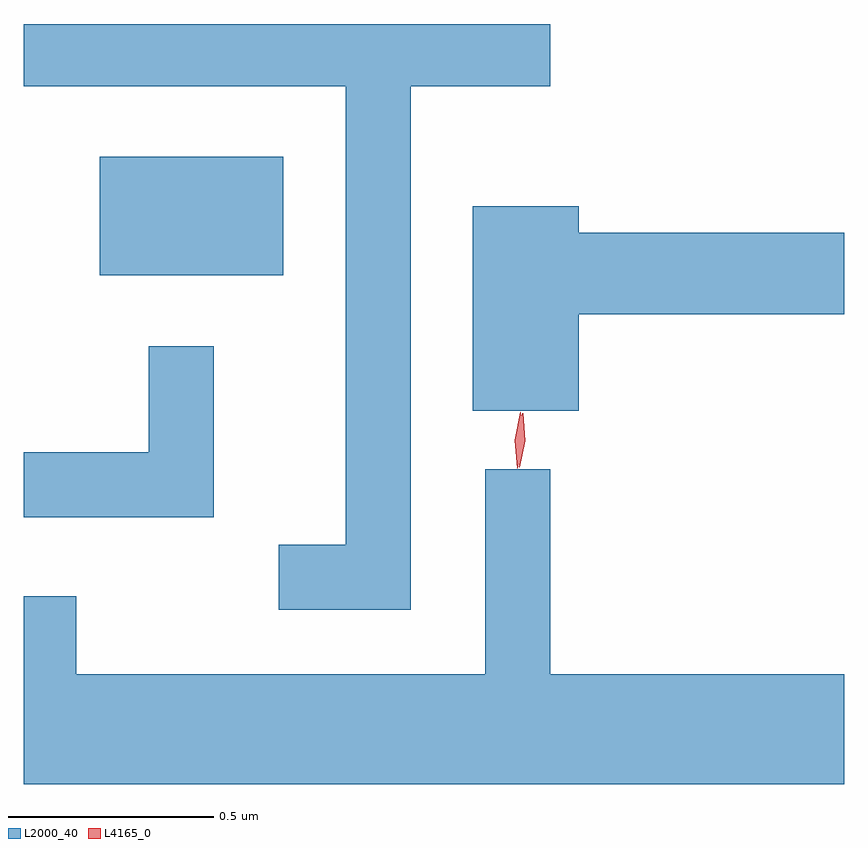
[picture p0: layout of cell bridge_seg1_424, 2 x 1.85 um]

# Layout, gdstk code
import gdstk
lib = gdstk.Library(unit=1e-6, precision=1e-09)
def R(c, l, rs):  # rectangles x0, y0, x1, y1
    for r in rs: c.add(gdstk.rectangle(r[:2], r[2:], *l))
def P(c, l, *ps):  # polygons
    for p in ps: c.add(gdstk.Polygon(p, *l))
L2000_40 = (2000, 40)
L4165_0 = (4165, 0)

bridge_seg1_424 = lib.new_cell('bridge_seg1_424')
R(bridge_seg1_424, L2000_40, [(608.016,969.636,608.464,969.924)])
P(bridge_seg1_424, L2000_40, [(608.774,970.096),(609.114,970.096),(609.114,970.248),(607.831,970.248),(607.831,970.096),(608.616,970.096),(608.616,968.979),(608.453,968.979),(608.453,968.821),(608.774,968.821)],
  [(609.184,969.541),(609.831,969.541),(609.831,969.739),(609.184,969.739),(609.184,969.804),(608.926,969.804),(608.926,969.306),(609.184,969.306)],
  [(608.294,969.463),(608.136,969.463),(608.136,969.204),(607.831,969.204),(607.831,969.046),(608.294,969.046)],
  [(609.831,968.664),(609.114,968.664),(609.114,969.163),(608.956,969.163),(608.956,968.664),(607.959,968.664),(607.959,968.854),(607.831,968.854),(607.831,968.396),(609.831,968.396)])
P(bridge_seg1_424, L4165_0, [(609.035,969.165),(609.034,969.166),(609.028,969.234),(609.041,969.302),(609.042,969.302),(609.042,969.302),(609.048,969.233),(609.035,969.166)],
  [(609.039,969.168),(609.033,969.234),(609.046,969.299),(609.047,969.299),(609.048,969.299),(609.053,969.233),(609.04,969.168),(609.04,969.168)])

lib.write_gds('bridge_seg1_424.gds')
